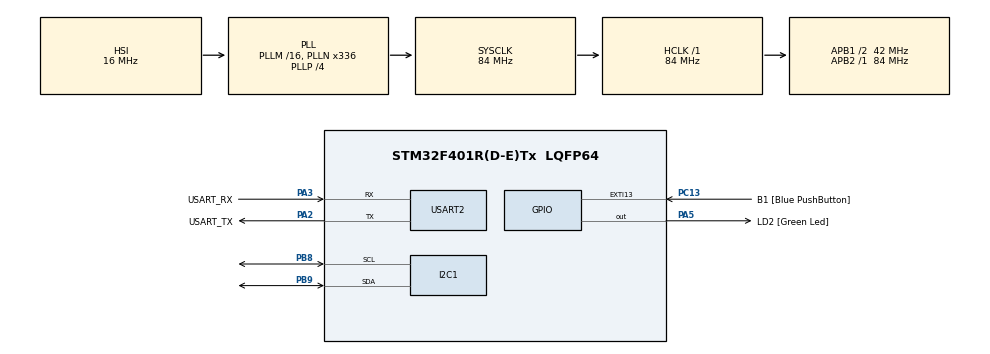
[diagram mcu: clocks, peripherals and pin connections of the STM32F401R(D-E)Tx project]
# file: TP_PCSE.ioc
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I2C1.I2C_Mode=I2C_Standard
Mcu.Family=STM32F4
Mcu.Name=STM32F401R(D-E)Tx
Mcu.Package=LQFP64
NVIC.PriorityGroup=NVIC_PRIORITYGROUP_0
PA13.GPIO_Label=TMS
PA13.Mode=Serial_Wire
PA13.Signal=SYS_JTMS-SWDIO
PA14.GPIO_Label=TCK
PA14.Mode=Serial_Wire
PA14.Signal=SYS_JTCK-SWCLK
PA2.GPIO_Label=USART_TX
PA2.GPIO_Mode=GPIO_MODE_AF_PP
PA2.GPIO_PuPd=GPIO_NOPULL
PA2.GPIO_Speed=GPIO_SPEED_FREQ_LOW
PA2.Mode=Asynchronous
PA2.Signal=USART2_TX
PA3.GPIO_Label=USART_RX
PA3.GPIO_Mode=GPIO_MODE_AF_PP
PA3.GPIO_PuPd=GPIO_NOPULL
PA3.GPIO_Speed=GPIO_SPEED_FREQ_LOW
PA3.Mode=Asynchronous
PA3.Signal=USART2_RX
PA5.GPIO_Label=LD2 [Green Led]
PA5.GPIO_Mode=GPIO_MODE_OUTPUT_PP
PA5.GPIO_PuPd=GPIO_NOPULL
PA5.GPIO_Speed=GPIO_SPEED_FREQ_LOW
PA5.Signal=GPIO_Output
PB3.GPIO_Label=SWO
PB3.Signal=SYS_JTDO-SWO
PB8.Mode=I2C
PB8.Signal=I2C1_SCL
PB9.Mode=I2C
PB9.Signal=I2C1_SDA
PC13-ANTI_TAMP.GPIO_Label=B1 [Blue PushButton]
PC13-ANTI_TAMP.GPIO_ModeDefaultEXTI=GPIO_MODE_IT_FALLING
PC13-ANTI_TAMP.GPIO_PuPd=GPIO_NOPULL
PC13-ANTI_TAMP.Signal=GPXTI13
PC14-OSC32_IN.Mode=LSE-External-Oscillator
PC14-OSC32_IN.Signal=RCC_OSC32_IN
PC15-OSC32_OUT.Mode=LSE-External-Oscillator
PC15-OSC32_OUT.Signal=RCC_OSC32_OUT
PH0\ -\ OSC_IN.Mode=HSE-External-Clock-Source
PH0\ -\ OSC_IN.Signal=RCC_OSC_IN
PH1\ -\ OSC_OUT.Mode=HSE-External-Clock-Source
PH1\ -\ OSC_OUT.Signal=RCC_OSC_OUT
ProjectManager.HeapSize=0x200
ProjectManager.StackSize=0x400
ProjectManager.TargetToolchain=STM32CubeIDE
RCC.48MHZClocksFreq_Value=48000000
RCC.AHBFreq_Value=84000000
RCC.APB1CLKDivider=RCC_HCLK_DIV2
RCC.APB1Freq_Value=42000000
RCC.APB1TimFreq_Value=84000000
RCC.APB2Freq_Value=84000000
RCC.APB2TimFreq_Value=84000000
RCC.CortexFreq_Value=84000000
RCC.HCLKFreq_Value=84000000
RCC.HSE_VALUE=8000000
RCC.HSI_VALUE=16000000
RCC.PLLN=336
RCC.PLLP=RCC_PLLP_DIV4
RCC.PLLQ=7
RCC.SYSCLKFreq_VALUE=84000000
RCC.SYSCLKSource=RCC_SYSCLKSOURCE_PLLCLK
RCC.VCOOutputFreq_Value=336000000
USART2.VirtualMode=VM_ASYNC
board=NUCLEO-F401RE

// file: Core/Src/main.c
/* USER CODE BEGIN Header */
/**
  ******************************************************************************
  * @file           : main.c
  * @brief          : Main program body
  ******************************************************************************
  * @attention
  *
  * Copyright (c) 2023 STMicroelectronics.
  * All rights reserved.
  *
  * This software is licensed under terms that can be found in the LICENSE file
  * in the root directory of this software component.
  * If no LICENSE file comes with this software, it is provided AS-IS.
  *
  ******************************************************************************
  */
/* USER CODE END Header */
#include "main.h"
#include "API_SSD1306.h"

/* USER CODE BEGIN PD */

// Define constants for delay times
#define WELCOME_DISPLAY_DELAY_MS 3500
#define COUNTER_UPDATE_DELAY_MS 1000

/* USER CODE END PD */

I2C_HandleTypeDef hi2c1;

UART_HandleTypeDef huart2;

void SystemClock_Config(void);
static void MX_GPIO_Init(void);
static void MX_USART2_UART_Init(void);
static void MX_I2C1_Init(void);

/* USER CODE BEGIN 0 */

// Initialize OLED screen and display welcome message
static void initializeOLED() {
    oledInit();
    oledSetCursor(0, 0);
    updateScreen();

	  //Display a initialization message:
	  oledWriteString("Welcome to:", White);
	  oledSetCursor(0,20);
	  oledWriteString("OLED DRIVER DEMO!", White);
	  oledSetCursor(50,40);
	  oledWriteString(":D",White);
	  updateScreen();

	  //After two seconds, clear the screen:
	HAL_Delay(WELCOME_DISPLAY_DELAY_MS);
	cleanScreen(Black);
	updateScreen();
}

// Display counter value on OLED screen
static void displayCounter(uint16_t counter)
{

	//Create a buffer to hold the message:
	char msg[20];
	//Clear the message buffer:
	memset(msg, 0, sizeof(msg));

	//Set title:
	oledSetCursor(40,0);
	oledWriteString("Counter", White);
	oledSetCursor(20, 10);
	oledWriteString("Demonstration", White);
	//Create a message with the counter value:
	 sprintf(msg, "Count: %d", counter);

	 //Set the cursor position and print the message:
	 oledSetCursor(0,40);
	 oledWriteString(msg,White);
	 updateScreen();
}

/* USER CODE END 0 */

int main(void)
{
		  /* USER CODE BEGIN 1 */
	  	  uint16_t counter = 0;

		  /* USER CODE END 1 */

  /* MCU Configuration--------------------------------------------------------*/

  /* Reset of all peripherals, Initializes the Flash interface and the Systick. */
  HAL_Init();

  /* Configure the system clock */
  SystemClock_Config();

  /* Initialize all configured peripherals */
  MX_GPIO_Init();
  MX_USART2_UART_Init();
  MX_I2C1_Init();

  	  	  /* USER CODE BEGIN 2 */
  	  	  	  initializeOLED();
		  /* USER CODE END 2 */

  /* Infinite loop */
  while (1)
  {
	 displayCounter(counter);
    /* USER CODE BEGIN 3 */

	  //Increment the counter
	  counter++;
	  //Delay for a second:
	  HAL_Delay(COUNTER_UPDATE_DELAY_MS);
  }
  /* USER CODE END 3 */
}

void SystemClock_Config(void)
{
  RCC_OscInitTypeDef RCC_OscInitStruct = {0};
  RCC_ClkInitTypeDef RCC_ClkInitStruct = {0};

  /** Configure the main internal regulator output voltage
  */
  __HAL_RCC_PWR_CLK_ENABLE();
  __HAL_PWR_VOLTAGESCALING_CONFIG(PWR_REGULATOR_VOLTAGE_SCALE2);

  /** Initializes the RCC Oscillators according to the specified parameters
  * in the RCC_OscInitTypeDef structure.
  */
  RCC_OscInitStruct.OscillatorType = RCC_OSCILLATORTYPE_HSI;
  RCC_OscInitStruct.HSIState = RCC_HSI_ON;
  RCC_OscInitStruct.HSICalibrationValue = RCC_HSICALIBRATION_DEFAULT;
  RCC_OscInitStruct.PLL.PLLState = RCC_PLL_ON;
  RCC_OscInitStruct.PLL.PLLSource = RCC_PLLSOURCE_HSI;
  RCC_OscInitStruct.PLL.PLLM = 16;
  RCC_OscInitStruct.PLL.PLLN = 336;
  RCC_OscInitStruct.PLL.PLLP = RCC_PLLP_DIV4;
  RCC_OscInitStruct.PLL.PLLQ = 7;
  if (HAL_RCC_OscConfig(&RCC_OscInitStruct) != HAL_OK)
  {
    Error_Handler();
  }

  /** Initializes the CPU, AHB and APB buses clocks
  */
  RCC_ClkInitStruct.ClockType = RCC_CLOCKTYPE_HCLK|RCC_CLOCKTYPE_SYSCLK
                              |RCC_CLOCKTYPE_PCLK1|RCC_CLOCKTYPE_PCLK2;
  RCC_ClkInitStruct.SYSCLKSource = RCC_SYSCLKSOURCE_PLLCLK;
  RCC_ClkInitStruct.AHBCLKDivider = RCC_SYSCLK_DIV1;
  RCC_ClkInitStruct.APB1CLKDivider = RCC_HCLK_DIV2;
  RCC_ClkInitStruct.APB2CLKDivider = RCC_HCLK_DIV1;

  if (HAL_RCC_ClockConfig(&RCC_ClkInitStruct, FLASH_LATENCY_2) != HAL_OK)
  {
    Error_Handler();
  }
}

static void MX_USART2_UART_Init(void)
{

  huart2.Instance = USART2;
  huart2.Init.BaudRate = 115200;
  huart2.Init.WordLength = UART_WORDLENGTH_8B;
  huart2.Init.StopBits = UART_STOPBITS_1;
  huart2.Init.Parity = UART_PARITY_NONE;
  huart2.Init.Mode = UART_MODE_TX_RX;
  huart2.Init.HwFlowCtl = UART_HWCONTROL_NONE;
  huart2.Init.OverSampling = UART_OVERSAMPLING_16;
  if (HAL_UART_Init(&huart2) != HAL_OK)
  {
    Error_Handler();
  }

}

static void MX_I2C1_Init(void)
{

  hi2c1.Instance = I2C1;
  hi2c1.Init.ClockSpeed = 100000;
  hi2c1.Init.DutyCycle = I2C_DUTYCYCLE_2;
  hi2c1.Init.OwnAddress1 = 0;
  hi2c1.Init.AddressingMode = I2C_ADDRESSINGMODE_7BIT;
  hi2c1.Init.DualAddressMode = I2C_DUALADDRESS_DISABLE;
  hi2c1.Init.OwnAddress2 = 0;
  hi2c1.Init.GeneralCallMode = I2C_GENERALCALL_DISABLE;
  hi2c1.Init.NoStretchMode = I2C_NOSTRETCH_DISABLE;
  if (HAL_I2C_Init(&hi2c1) != HAL_OK)
  {
    Error_Handler();
  }

}

static void MX_GPIO_Init(void)
{
  GPIO_InitTypeDef GPIO_InitStruct = {0};

  /* GPIO Ports Clock Enable */
  __HAL_RCC_GPIOC_CLK_ENABLE();
  __HAL_RCC_GPIOH_CLK_ENABLE();
  __HAL_RCC_GPIOA_CLK_ENABLE();
  __HAL_RCC_GPIOB_CLK_ENABLE();

  /*Configure GPIO pin Output Level */
  HAL_GPIO_WritePin(LD2_GPIO_Port, LD2_Pin, GPIO_PIN_RESET);

  /*Configure GPIO pin : B1_Pin */
  GPIO_InitStruct.Pin = B1_Pin;
  GPIO_InitStruct.Mode = GPIO_MODE_IT_FALLING;
  GPIO_InitStruct.Pull = GPIO_NOPULL;
  HAL_GPIO_Init(B1_GPIO_Port, &GPIO_InitStruct);

  /*Configure GPIO pin : LD2_Pin */
  GPIO_InitStruct.Pin = LD2_Pin;
  GPIO_InitStruct.Mode = GPIO_MODE_OUTPUT_PP;
  GPIO_InitStruct.Pull = GPIO_NOPULL;
  GPIO_InitStruct.Speed = GPIO_SPEED_FREQ_LOW;
  HAL_GPIO_Init(LD2_GPIO_Port, &GPIO_InitStruct);

}

void Error_Handler(void)
{
  __disable_irq();
  while (1)
  {
  }
}
